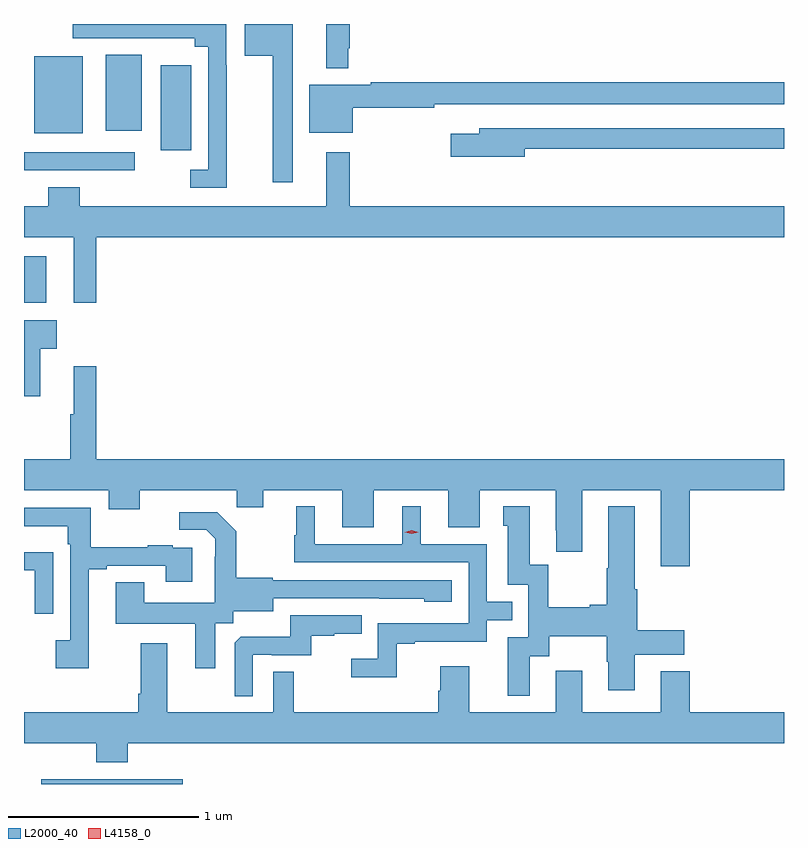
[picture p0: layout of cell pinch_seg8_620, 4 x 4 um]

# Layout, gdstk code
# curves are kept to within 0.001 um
import gdstk
lib = gdstk.Library(unit=1e-6, precision=1e-09)
def R(c, l, rs):  # rectangles x0, y0, x1, y1
    for r in rs: c.add(gdstk.rectangle(r[:2], r[2:], *l))
def P(c, l, *ps):  # polygons
    for p in ps: c.add(gdstk.Polygon(p, *l))
L2000_40 = (2000, 40)
L4158_0 = (4158, 0)

pinch_seg8_620 = lib.new_cell('pinch_seg8_620')
R(pinch_seg8_620, L2000_40, [(350.325,1098.97,351.07,1098.996), (350.235,1101.503,350.353,1101.748), (350.235,1102.2,350.818,1102.296), (350.954,1102.305,351.115,1102.753), (350.288,1102.394,350.545,1102.801), (350.666,1102.409,350.854,1102.807)])
P(pinch_seg8_620, L2000_40, [(351.649,1102.97),(351.398,1102.97),(351.398,1102.802),(351.545,1102.802),(351.545,1102.137),(351.649,1102.137)],
  [(351.303,1102.754),(351.3,1102.754),(351.3,1102.97),(350.492,1102.97),(350.492,1102.896),(351.134,1102.896),(351.134,1102.85),(351.204,1102.85),(351.204,1102.203),(351.111,1102.203),(351.111,1102.107),(351.303,1102.107)],
  [(351.942,1102.843),(351.949,1102.843),(351.949,1102.97),(351.827,1102.97),(351.827,1102.736),(351.942,1102.736)],
  [(351.964,1102.528),(352.394,1102.528),(352.394,1102.548),(354.235,1102.548),(354.235,1102.664),(352.06,1102.664),(352.06,1102.651),(351.737,1102.651),(351.737,1102.397),(351.964,1102.397)],
  [(352.87,1102.314),(354.235,1102.314),(354.235,1102.422),(352.631,1102.422),(352.631,1102.393),(352.482,1102.393),(352.482,1102.271),(352.87,1102.271)],
  [(350.528,1102.111),(350.363,1102.111),(350.363,1102.012),(350.235,1102.012),(350.235,1101.848),(350.498,1101.848),(350.498,1101.504),(350.615,1101.504),(350.615,1101.848),(354.235,1101.848),(354.235,1102.012),(351.949,1102.012),(351.949,1102.294),(351.827,1102.294),(351.827,1102.012),(350.528,1102.012)],
  [(350.321,1101.26),(350.407,1101.26),(350.407,1101.412),(350.235,1101.412),(350.235,1101.012),(350.321,1101.012)],
  [(353.738,1100.516),(354.235,1100.516),(354.235,1100.68),(350.615,1100.68),(350.615,1101.169),(350.498,1101.169),(350.498,1100.916),(350.479,1100.916),(350.479,1100.68),(350.235,1100.68),(350.235,1100.516),(350.681,1100.516),(350.681,1100.417),(350.845,1100.417),(350.845,1100.516),(351.355,1100.516),(351.355,1100.426),(351.493,1100.426),(351.493,1100.516),(351.911,1100.516),(351.911,1100.322),(352.075,1100.322),(352.075,1100.516),(352.469,1100.516),(352.469,1100.322),(352.633,1100.322),(352.633,1100.516),(353.033,1100.516),(353.033,1100.305),(353.037,1100.305),(353.037,1100.193),(353.173,1100.193),(353.173,1100.516),(353.585,1100.516),(353.585,1100.115),(353.738,1100.115)],
  [(352.897,1099.642),(352.999,1099.642),(352.999,1099.748),(353.302,1099.748),(353.302,1099.614),(353.309,1099.614),(353.309,1099.464),(353.449,1099.464),(353.449,1099.649),(353.71,1099.649),(353.71,1099.779),(353.462,1099.779),(353.462,1099.996),(353.449,1099.996),(353.449,1100.431),(353.309,1100.431),(353.309,1100.105),(353.302,1100.105),(353.302,1099.913),(353.213,1099.913),(353.213,1099.9),(352.995,1099.9),(352.995,1100.123),(352.897,1100.123),(352.897,1100.431),(352.757,1100.431),(352.757,1100.328),(352.781,1100.328),(352.781,1100.019),(352.89,1100.019),(352.89,1099.743),(352.781,1099.743),(352.781,1099.434),(352.897,1099.434)],
  [(352.197,1099.707),(352.291,1099.707),(352.291,1099.719),(352.671,1099.719),(352.671,1099.833),(352.805,1099.833),(352.805,1099.929),(352.671,1099.929),(352.671,1100.232),(352.324,1100.232),(352.324,1100.431),(352.226,1100.431),(352.226,1100.232),(351.766,1100.232),(351.766,1100.431),(351.668,1100.431),(351.668,1100.28),(351.657,1100.28),(351.657,1100.136),(352.575,1100.136),(352.575,1099.815),(352.098,1099.815),(352.098,1099.63),(351.957,1099.63),(351.957,1099.532),(352.197,1099.532)],
  [(350.575,1100.1),(350.671,1100.1),(350.671,1100.118),(350.981,1100.118),(350.981,1100.034),(351.121,1100.034),(351.121,1100.214),(351.017,1100.214),(351.017,1100.227),(350.885,1100.227),(350.885,1100.216),(350.587,1100.216),(350.587,1100.424),(350.235,1100.424),(350.235,1100.327),(350.466,1100.327),(350.466,1100.231),(350.478,1100.231),(350.478,1099.726),(350.403,1099.726),(350.403,1099.578),(350.575,1099.578)],
  [(351.241,1099.816),(351.336,1099.816),(351.336,1099.88),(351.547,1099.88),(351.547,1099.947),(352.341,1099.946),(352.341,1099.928),(352.486,1099.928),(352.486,1100.043),(351.543,1100.043),(351.543,1100.056),(351.351,1100.056),(351.351,1100.301),(351.251,1100.401),(351.051,1100.401),(351.051,1100.307),(351.195,1100.307),(351.242,1100.26),(351.242,1100.165),(351.24,1100.165),(351.24,1099.924),(350.869,1099.924),(350.869,1100.033),(350.717,1100.033),(350.717,1099.814),(351.137,1099.814),(351.137,1099.578),(351.241,1099.578)],
  [(350.388,1100.191),(350.235,1100.191),(350.235,1100.094),(350.292,1100.094),(350.292,1099.866),(350.388,1099.866)],
  [(351.438,1099.65),(351.538,1099.65),(351.538,1099.647),(351.746,1099.647),(351.746,1099.749),(351.869,1099.749),(351.869,1099.76),(352.013,1099.76),(352.013,1099.857),(351.636,1099.857),(351.636,1099.745),(351.377,1099.745),(351.345,1099.713),(351.345,1099.433),(351.438,1099.433)],
  [(350.78,1099.184),(354.235,1099.184),(354.235,1099.348),(353.738,1099.348),(353.738,1099.564),(353.585,1099.564),(353.585,1099.348),(353.173,1099.348),(353.173,1099.567),(353.033,1099.567),(353.033,1099.348),(352.579,1099.348),(352.579,1099.591),(352.427,1099.591),(352.427,1099.461),(352.415,1099.461),(352.415,1099.348),(351.655,1099.348),(351.655,1099.562),(351.546,1099.562),(351.546,1099.348),(350.989,1099.348),(350.989,1099.711),(350.849,1099.711),(350.849,1099.444),(350.837,1099.444),(350.837,1099.348),(350.235,1099.348),(350.235,1099.184),(350.615,1099.184),(350.615,1099.085),(350.78,1099.085)])
P(pinch_seg8_620, L4158_0, [(352.275,1100.286),(352.239,1100.295),(352.239,1100.296),(352.239,1100.296),(352.275,1100.306),(352.31,1100.296),(352.311,1100.296),(352.31,1100.295)])

lib.write_gds('pinch_seg8_620.gds')
